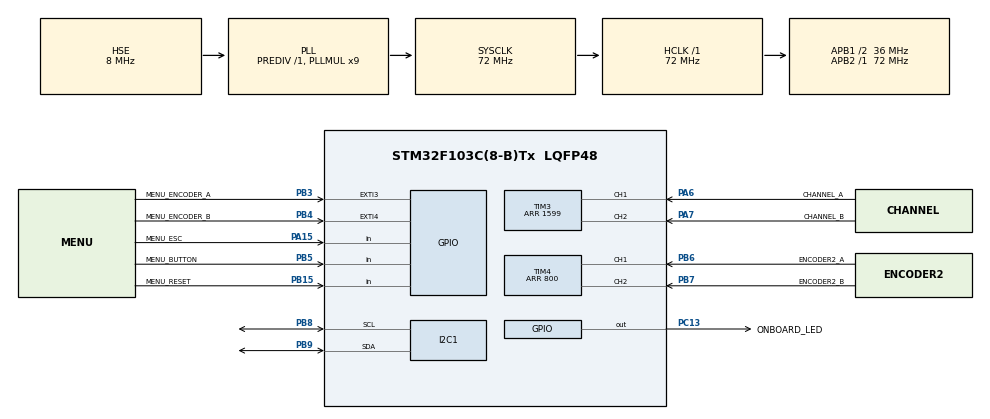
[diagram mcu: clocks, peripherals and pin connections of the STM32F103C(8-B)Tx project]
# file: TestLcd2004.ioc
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Mcu.Family=STM32F1
Mcu.Name=STM32F103C(8-B)Tx
Mcu.Package=LQFP48
NVIC.EXTI3_IRQn=true\:0\:0\:false\:false\:true\:true\:true
NVIC.EXTI4_IRQn=true\:0\:0\:false\:false\:true\:true\:true
NVIC.PriorityGroup=NVIC_PRIORITYGROUP_4
NVIC.TIM3_IRQn=true\:0\:0\:false\:false\:true\:true\:true
NVIC.TIM4_IRQn=true\:0\:0\:false\:false\:true\:true\:true
PA13.Mode=Serial_Wire
PA13.Signal=SYS_JTMS-SWDIO
PA14.Mode=Serial_Wire
PA14.Signal=SYS_JTCK-SWCLK
PA15.GPIO_Label=MENU_ESC
PA15.GPIO_PuPd=GPIO_PULLUP
PA15.Signal=GPIO_Input
PA6.GPIO_Label=CHANNEL_A
PA6.GPIO_PuPd=GPIO_PULLUP
PA6.Signal=S_TIM3_CH1
PA7.GPIO_Label=CHANNEL_B
PA7.GPIO_PuPd=GPIO_PULLUP
PA7.Signal=S_TIM3_CH2
PB15.GPIO_Label=MENU_RESET
PB15.GPIO_PuPd=GPIO_PULLUP
PB15.Signal=GPIO_Input
PB3.GPIO_Label=MENU_ENCODER_A
PB3.GPIO_ModeDefaultEXTI=GPIO_MODE_IT_RISING_FALLING
PB3.GPIO_PuPd=GPIO_PULLUP
PB3.Signal=GPXTI3
PB4.GPIO_Label=MENU_ENCODER_B
PB4.GPIO_ModeDefaultEXTI=GPIO_MODE_IT_RISING_FALLING
PB4.GPIO_PuPd=GPIO_PULLUP
PB4.Signal=GPXTI4
PB5.GPIO_Label=MENU_BUTTON
PB5.GPIO_PuPd=GPIO_PULLUP
PB5.Signal=GPIO_Input
PB6.GPIO_Label=ENCODER2_A
PB6.GPIO_PuPd=GPIO_PULLUP
PB6.Signal=S_TIM4_CH1
PB7.GPIO_Label=ENCODER2_B
PB7.GPIO_PuPd=GPIO_PULLUP
PB7.Signal=S_TIM4_CH2
PB8.Mode=I2C
PB8.Signal=I2C1_SCL
PB9.Mode=I2C
PB9.Signal=I2C1_SDA
PC13-TAMPER-RTC.GPIO_Label=ONBOARD_LED
PC13-TAMPER-RTC.Signal=GPIO_Output
PD0-OSC_IN.Mode=HSE-External-Oscillator
PD0-OSC_IN.Signal=RCC_OSC_IN
PD1-OSC_OUT.Mode=HSE-External-Oscillator
PD1-OSC_OUT.Signal=RCC_OSC_OUT
ProjectManager.HeapSize=0x200
ProjectManager.StackSize=0x400
ProjectManager.TargetToolchain=STM32CubeIDE
RCC.AHBFreq_Value=72000000
RCC.APB1CLKDivider=RCC_HCLK_DIV2
RCC.APB1Freq_Value=36000000
RCC.APB1TimFreq_Value=72000000
RCC.APB2Freq_Value=72000000
RCC.APB2TimFreq_Value=72000000
RCC.HCLKFreq_Value=72000000
RCC.PLLMUL=RCC_PLL_MUL9
RCC.PLLSourceVirtual=RCC_PLLSOURCE_HSE
RCC.SYSCLKFreq_VALUE=72000000
RCC.SYSCLKSource=RCC_SYSCLKSOURCE_PLLCLK
RCC.USBFreq_Value=72000000
SH.S_TIM3_CH1.0=TIM3_CH1,Encoder_Interface
SH.S_TIM3_CH2.0=TIM3_CH2,Encoder_Interface
SH.S_TIM4_CH1.0=TIM4_CH1,Encoder_Interface
SH.S_TIM4_CH2.0=TIM4_CH2,Encoder_Interface
TIM3.EncoderMode=TIM_ENCODERMODE_TI12
TIM3.IC1Filter=3
TIM3.IC1Polarity=TIM_ICPOLARITY_FALLING
TIM3.IC2Polarity=TIM_ICPOLARITY_FALLING
TIM3.Period=1599
TIM3.TIM_MasterOutputTrigger=TIM_TRGO_RESET
TIM4.AutoReloadPreload=TIM_AUTORELOAD_PRELOAD_ENABLE
TIM4.CounterMode=TIM_COUNTERMODE_DOWN
TIM4.EncoderMode=TIM_ENCODERMODE_TI12
TIM4.IC1Polarity=TIM_ICPOLARITY_FALLING
TIM4.IC2Polarity=TIM_ICPOLARITY_FALLING
TIM4.Period=800
board=custom

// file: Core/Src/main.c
/* USER CODE BEGIN Header */
/**
 ******************************************************************************
 * @file           : main.c
 * @brief          : Main program body
 ******************************************************************************
 * @attention
 *
 * Copyright (c) 2022 STMicroelectronics.
 * All rights reserved.
 *
 * This software is licensed under terms that can be found in the LICENSE file
 * in the root directory of this software component.
 * If no LICENSE file comes with this software, it is provided AS-IS.
 *
 ******************************************************************************
 */
/* USER CODE END Header */
#include "main.h"

/* USER CODE BEGIN Includes */
#include <stdbool.h>
/* USER CODE END Includes */

/* USER CODE BEGIN PD */
/*STM32 VARIABILI*/
volatile int menuPosition;
volatile int lastEncodedMenu;
/* Measure RPM */
volatile uint32_t rpmValue = 0;
volatile uint32_t rpmOldValue = 0;
volatile float rpm = 0;
/*END STM32 VARIABILI*/

char buff[21]; //buffer per memorizzare le stringhe lette dalla flash e visualizzate sul display

bool mm_min = false; //variabile che determina la modalita' di avanzamento: true = mm/min; false = cent/giro

/* VALORI EEPROM (che non c'è lol)*/
unsigned int av_carro[] = { 400, 400, 400, 400 }; //valore di avanzamento in centesimi del carro (valore caricato da EEPROM)
unsigned int av_trasv[] = { 400, 400, 400, 400 }; //valore di avanzamento in centesimi del carro (valore caricato da EEPROM)

unsigned char NORTON_gearbox; //valore che memorizza la posizione corrente della scatola norton (usato come indice per gli array qui sopra)

/* variabili relative ad encoder e motore stepper*/

int one_turn_mandrel_steps = 1600; //numero di step/giro dell'encoder mandrino (x4) (valore caricato da EEPROM)

float screw_pitch = 4.0; //passo della vite madre in mm (valore caricato da EEPROM)

unsigned int one_turn_screw_steps = 800; //numero di step/giro del motore stepper sulla vite (valore caricato da EEPROM)
//nel mio caso 200*2*2 (step motore * half-step driver * demoltiplica hardware)

float single_step_pitch = 4.0 / 800; //valore in micron di movimento del carro ad ogni step della vite madre
									 //calcolato al termine della funzione LoadFromEEPROM()
									 //calculates the linear movement (in mm) of the carriage for a single step of the stepper motor

unsigned int AccelerationDelay = 100; //ritardo accelerazione del motore stepper - varibile letta da EEPROM
unsigned int DecelerationDelay = 100; //ritardo decelerazione del motore stepper - varibile letta da EEPROM

bool CW = true; //TRUE se la rotazione standard della vite e' in senso orario (orario trascina il carro verso il madnrino). variabile letta da EEPROM
bool CCW = false; //TRUE se la rotazione standard della vite e' in senso anti-orario (anti-orario trascina il carro verso il madnrino) variabile letta da EEPROM

int thread_offset_steps = 400; //offset per operazione di filettatura. Indica quanti passi prima dell'inizio del filetto si deve posizionare la vite
unsigned long MaxStepperSpeed = 100; //massima velocit di rotazione ammessa per il motore stepper. Variabile letta da EEPROM
/* FINE VALORI EEPROM */
float SingleStepFeed; //valore in millimetri di movimento del carro ad ogni step della barra
//calcolato nelle funzioni di avanzamento dove richiesto ed in base alla posizione del cambio norton
float distance = 0.00; //distanza in mm usata nella funzione FilettaturaToPosition()
// fine variabili relative ad encoder e motore stepper

//variabili usate per il calcolo della progressione di filettatura
char sequenza[MaxSteps]; //array usato per i calcolo della sequenza passi encoder/stepper. la lunghezza di questo array limita il massimo passo eseguibile in filettatura
//max_passo = passo_vite*(800/passi_stepper_giro)
int numero_passi = 0; //variabile che memorizza il numero dei passi stepper per ogni giro mandrino (usata in filettatura e avanzamento)
int pointer = 0;                       //puntatore per array "sequenza"
bool Metric = true; //se vero il passo impostato in filettatura e' metrico, se Falso e' imperial
float thread_pitch = 1.00; //passo impostato per la filettatura in mm (standard 1.00mm)
char TPInch = 20; //passo impostato per la filettatura in pollici (standard 20 TPI)
//fine variabili usate per il calcolo della progressione di filettatura

//variabili relative alla lettura dell'encoder
uint32_t steps = 0; //passi encoder relativi - variabile usata come appoggio in filettatura e avanzamento
uint32_t steps2 = 0; //passi encoder relativi - variabile usata come appoggio in filettatura e avanzamento

volatile long absolute_encoder_steps = 0;  //passi encoder assoluti
bool step_flag; //Flag per detarminare se il passo encode  avvenuto (usata nella rountine di interrupt di lettura dell'nencoder)
int passi_sequenza = 0;
char encoder[] = { 0, 1, -1, 0, -1, 0, 0, 1, 1, 0, 0, -1, 0, -1, 1, 0 }; //array da 16 valori usato per "muovere" i passi enoder nella rountine interrupt di filettatura
bool sviluppo_filetto = true; //Flag che detrmina il verso id filettatura: TRUE = DESTRO; FALSE = SINISTRO
//fine variabili relative alla lettura dell'encoder

// Stepper motor variables
//bool Direction = 1;        //variabile usata per determinare il senso di rotazione momentaneo del motore stepper e incrementare o decrementare i passi
int passi_stepper = 0;

volatile unsigned int TOP = 65535; //valore usato per scrivere il registro ICR1 che determina la frequenza del PWM che regola la velocit di rotazione del motore stepper

int feed = 1;  //valore corrente avanzamneto usato nella funzione di avanzamneto
bool SHOW_Impostazioni = false;

/* USER CODE END PD */

I2C_HandleTypeDef hi2c1;

TIM_HandleTypeDef htim3;
TIM_HandleTypeDef htim4;

void SystemClock_Config(void);
static void MX_GPIO_Init(void);
static void MX_I2C1_Init(void);
static void MX_TIM3_Init(void);
static void MX_TIM4_Init(void);

/* USER CODE BEGIN 0 */

// Callback: timer has rolled over
void HAL_TIM_PeriodElapsedCallback(TIM_HandleTypeDef *htim) {

	if (htim->Instance == TIM4) {
		HAL_GPIO_TogglePin(ONBOARD_LED_GPIO_Port, ONBOARD_LED_Pin);
	}
	if (htim->Instance == TIM3) {
		rpmValue = HAL_GetTick();
		if (rpmValue != rpmOldValue ){
			uint32_t time_elapsed = rpmValue - rpmOldValue;
			rpm = 1600 * (60000.f / time_elapsed / 1600);
			rpmOldValue = rpmValue;

		}else{
			rpm=0;
		}
		rpmValue = HAL_GetTick();
	}
}
/* USER CODE END 0 */

int main(void)
{

  /* MCU Configuration--------------------------------------------------------*/

  /* Reset of all peripherals, Initializes the Flash interface and the Systick. */
  HAL_Init();

  /* Configure the system clock */
  SystemClock_Config();

  /* Initialize all configured peripherals */
  MX_GPIO_Init();
  MX_I2C1_Init();
  MX_TIM3_Init();
  MX_TIM4_Init();
  /* USER CODE BEGIN 2 */
	if (HAL_TIM_Encoder_Start_IT(&htim3, TIM_CHANNEL_ALL) != HAL_OK)
		Error_Handler();
	if (HAL_TIM_Encoder_Start_IT(&htim4, TIM_CHANNEL_ALL) != HAL_OK)
		Error_Handler();
	if (HAL_TIM_Base_Start_IT(&htim4) != HAL_OK)
		Error_Handler();
	if (HAL_TIM_Base_Start_IT(&htim3) != HAL_OK)
		Error_Handler();

//   WriteToEEPROM();
	LoadFromEEPROM();
	lcd_init();

  /* USER CODE END 2 */

  /* Infinite loop */
  /* USER CODE BEGIN WHILE */
	while (1) {
		char scelta;
		while (true) {
    /* USER CODE END WHILE */

    /* USER CODE BEGIN 3 */

			scelta = Principale();
			switch (scelta) {
			case 1:
				lcd_clear();
				Impostazioni();
				break;
			case 6:
				lcd_clear();
				PosizioneAngolare();
				break;
			case 5:
				lcd_clear();
				MandrelSpeed();
				break;
				/*case 2: lcd.clear(); Avanzamento(); break;
				 case 3: lcd.clear(); Filettatura(); break;
				 case 4: lcd.clear(); MovimentoLibero(); break;
				 */
			}
		}
		/* USER CODE END WHILE */

		/* USER CODE BEGIN 3 */
	}
  /* USER CODE END 3 */
}

void SystemClock_Config(void)
{
  RCC_OscInitTypeDef RCC_OscInitStruct = {0};
  RCC_ClkInitTypeDef RCC_ClkInitStruct = {0};

  /** Initializes the RCC Oscillators according to the specified parameters
  * in the RCC_OscInitTypeDef structure.
  */
  RCC_OscInitStruct.OscillatorType = RCC_OSCILLATORTYPE_HSE;
  RCC_OscInitStruct.HSEState = RCC_HSE_ON;
  RCC_OscInitStruct.HSEPredivValue = RCC_HSE_PREDIV_DIV1;
  RCC_OscInitStruct.HSIState = RCC_HSI_ON;
  RCC_OscInitStruct.PLL.PLLState = RCC_PLL_ON;
  RCC_OscInitStruct.PLL.PLLSource = RCC_PLLSOURCE_HSE;
  RCC_OscInitStruct.PLL.PLLMUL = RCC_PLL_MUL9;
  if (HAL_RCC_OscConfig(&RCC_OscInitStruct) != HAL_OK)
  {
    Error_Handler();
  }
  /** Initializes the CPU, AHB and APB buses clocks
  */
  RCC_ClkInitStruct.ClockType = RCC_CLOCKTYPE_HCLK|RCC_CLOCKTYPE_SYSCLK
                              |RCC_CLOCKTYPE_PCLK1|RCC_CLOCKTYPE_PCLK2;
  RCC_ClkInitStruct.SYSCLKSource = RCC_SYSCLKSOURCE_PLLCLK;
  RCC_ClkInitStruct.AHBCLKDivider = RCC_SYSCLK_DIV1;
  RCC_ClkInitStruct.APB1CLKDivider = RCC_HCLK_DIV2;
  RCC_ClkInitStruct.APB2CLKDivider = RCC_HCLK_DIV1;

  if (HAL_RCC_ClockConfig(&RCC_ClkInitStruct, FLASH_LATENCY_2) != HAL_OK)
  {
    Error_Handler();
  }
}

static void MX_I2C1_Init(void)
{

  hi2c1.Instance = I2C1;
  hi2c1.Init.ClockSpeed = 100000;
  hi2c1.Init.DutyCycle = I2C_DUTYCYCLE_2;
  hi2c1.Init.OwnAddress1 = 0;
  hi2c1.Init.AddressingMode = I2C_ADDRESSINGMODE_7BIT;
  hi2c1.Init.DualAddressMode = I2C_DUALADDRESS_DISABLE;
  hi2c1.Init.OwnAddress2 = 0;
  hi2c1.Init.GeneralCallMode = I2C_GENERALCALL_DISABLE;
  hi2c1.Init.NoStretchMode = I2C_NOSTRETCH_DISABLE;
  if (HAL_I2C_Init(&hi2c1) != HAL_OK)
  {
    Error_Handler();
  }

}

static void MX_TIM3_Init(void)
{

  TIM_Encoder_InitTypeDef sConfig = {0};
  TIM_MasterConfigTypeDef sMasterConfig = {0};

  htim3.Instance = TIM3;
  htim3.Init.Prescaler = 0;
  htim3.Init.CounterMode = TIM_COUNTERMODE_UP;
  htim3.Init.Period = 1599;
  htim3.Init.ClockDivision = TIM_CLOCKDIVISION_DIV1;
  htim3.Init.AutoReloadPreload = TIM_AUTORELOAD_PRELOAD_DISABLE;
  sConfig.EncoderMode = TIM_ENCODERMODE_TI12;
  sConfig.IC1Polarity = TIM_ICPOLARITY_FALLING;
  sConfig.IC1Selection = TIM_ICSELECTION_DIRECTTI;
  sConfig.IC1Prescaler = TIM_ICPSC_DIV1;
  sConfig.IC1Filter = 3;
  sConfig.IC2Polarity = TIM_ICPOLARITY_FALLING;
  sConfig.IC2Selection = TIM_ICSELECTION_DIRECTTI;
  sConfig.IC2Prescaler = TIM_ICPSC_DIV1;
  sConfig.IC2Filter = 0;
  if (HAL_TIM_Encoder_Init(&htim3, &sConfig) != HAL_OK)
  {
    Error_Handler();
  }
  sMasterConfig.MasterOutputTrigger = TIM_TRGO_RESET;
  sMasterConfig.MasterSlaveMode = TIM_MASTERSLAVEMODE_DISABLE;
  if (HAL_TIMEx_MasterConfigSynchronization(&htim3, &sMasterConfig) != HAL_OK)
  {
    Error_Handler();
  }

}

static void MX_TIM4_Init(void)
{

  TIM_Encoder_InitTypeDef sConfig = {0};
  TIM_MasterConfigTypeDef sMasterConfig = {0};

  htim4.Instance = TIM4;
  htim4.Init.Prescaler = 0;
  htim4.Init.CounterMode = TIM_COUNTERMODE_DOWN;
  htim4.Init.Period = 800;
  htim4.Init.ClockDivision = TIM_CLOCKDIVISION_DIV1;
  htim4.Init.AutoReloadPreload = TIM_AUTORELOAD_PRELOAD_ENABLE;
  sConfig.EncoderMode = TIM_ENCODERMODE_TI12;
  sConfig.IC1Polarity = TIM_ICPOLARITY_FALLING;
  sConfig.IC1Selection = TIM_ICSELECTION_DIRECTTI;
  sConfig.IC1Prescaler = TIM_ICPSC_DIV1;
  sConfig.IC1Filter = 0;
  sConfig.IC2Polarity = TIM_ICPOLARITY_FALLING;
  sConfig.IC2Selection = TIM_ICSELECTION_DIRECTTI;
  sConfig.IC2Prescaler = TIM_ICPSC_DIV1;
  sConfig.IC2Filter = 0;
  if (HAL_TIM_Encoder_Init(&htim4, &sConfig) != HAL_OK)
  {
    Error_Handler();
  }
  sMasterConfig.MasterOutputTrigger = TIM_TRGO_RESET;
  sMasterConfig.MasterSlaveMode = TIM_MASTERSLAVEMODE_DISABLE;
  if (HAL_TIMEx_MasterConfigSynchronization(&htim4, &sMasterConfig) != HAL_OK)
  {
    Error_Handler();
  }

}

static void MX_GPIO_Init(void)
{
  GPIO_InitTypeDef GPIO_InitStruct = {0};

  /* GPIO Ports Clock Enable */
  __HAL_RCC_GPIOC_CLK_ENABLE();
  __HAL_RCC_GPIOD_CLK_ENABLE();
  __HAL_RCC_GPIOA_CLK_ENABLE();
  __HAL_RCC_GPIOB_CLK_ENABLE();

  /*Configure GPIO pin Output Level */
  HAL_GPIO_WritePin(ONBOARD_LED_GPIO_Port, ONBOARD_LED_Pin, GPIO_PIN_RESET);

  /*Configure GPIO pin : ONBOARD_LED_Pin */
  GPIO_InitStruct.Pin = ONBOARD_LED_Pin;
  GPIO_InitStruct.Mode = GPIO_MODE_OUTPUT_PP;
  GPIO_InitStruct.Pull = GPIO_NOPULL;
  GPIO_InitStruct.Speed = GPIO_SPEED_FREQ_LOW;
  HAL_GPIO_Init(ONBOARD_LED_GPIO_Port, &GPIO_InitStruct);

  /*Configure GPIO pins : MENU_RESET_Pin MENU_BUTTON_Pin */
  GPIO_InitStruct.Pin = MENU_RESET_Pin|MENU_BUTTON_Pin;
  GPIO_InitStruct.Mode = GPIO_MODE_INPUT;
  GPIO_InitStruct.Pull = GPIO_PULLUP;
  HAL_GPIO_Init(GPIOB, &GPIO_InitStruct);

  /*Configure GPIO pin : MENU_ESC_Pin */
  GPIO_InitStruct.Pin = MENU_ESC_Pin;
  GPIO_InitStruct.Mode = GPIO_MODE_INPUT;
  GPIO_InitStruct.Pull = GPIO_PULLUP;
  HAL_GPIO_Init(MENU_ESC_GPIO_Port, &GPIO_InitStruct);

  /*Configure GPIO pins : MENU_ENCODER_A_Pin MENU_ENCODER_B_Pin */
  GPIO_InitStruct.Pin = MENU_ENCODER_A_Pin|MENU_ENCODER_B_Pin;
  GPIO_InitStruct.Mode = GPIO_MODE_IT_RISING_FALLING;
  GPIO_InitStruct.Pull = GPIO_PULLUP;
  HAL_GPIO_Init(GPIOB, &GPIO_InitStruct);

  /* EXTI interrupt init*/
  HAL_NVIC_SetPriority(EXTI3_IRQn, 0, 0);
  HAL_NVIC_EnableIRQ(EXTI3_IRQn);

  HAL_NVIC_SetPriority(EXTI4_IRQn, 0, 0);
  HAL_NVIC_EnableIRQ(EXTI4_IRQn);

}

void Error_Handler(void)
{
	__disable_irq();
	while (1) {
	}
}
